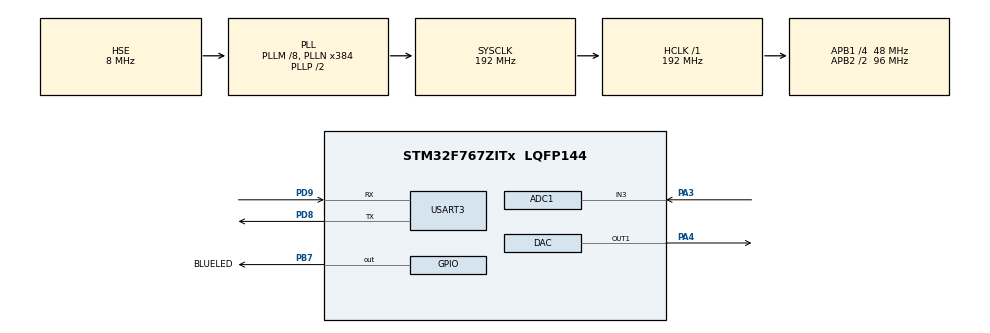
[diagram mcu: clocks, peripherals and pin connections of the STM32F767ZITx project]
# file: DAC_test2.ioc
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ADC1.Channel-0\#ChannelRegularConversion=ADC_CHANNEL_3
ADC1.DMAContinuousRequests=ENABLE
ADC1.ExternalTrigConv=ADC_EXTERNALTRIGCONV_T6_TRGO
ADC1.NbrOfConversionFlag=1
ADC1.Rank-0\#ChannelRegularConversion=1
ADC1.SamplingTime-0\#ChannelRegularConversion=ADC_SAMPLETIME_3CYCLES
ADC1.master=1
CORTEX_M7.default_mode_Activation=1
DAC.DAC_Trigger=DAC_TRIGGER_T6_TRGO
Dma.ADC1.0.Direction=DMA_PERIPH_TO_MEMORY
Dma.ADC1.0.FIFOMode=DMA_FIFOMODE_DISABLE
Dma.ADC1.0.Instance=DMA2_Stream0
Dma.ADC1.0.MemDataAlignment=DMA_MDATAALIGN_HALFWORD
Dma.ADC1.0.MemInc=DMA_MINC_ENABLE
Dma.ADC1.0.Mode=DMA_CIRCULAR
Dma.ADC1.0.PeriphDataAlignment=DMA_PDATAALIGN_HALFWORD
Dma.ADC1.0.PeriphInc=DMA_PINC_DISABLE
Dma.ADC1.0.Priority=DMA_PRIORITY_LOW
Dma.DAC1.1.Direction=DMA_MEMORY_TO_PERIPH
Dma.DAC1.1.FIFOMode=DMA_FIFOMODE_DISABLE
Dma.DAC1.1.Instance=DMA1_Stream5
Dma.DAC1.1.MemDataAlignment=DMA_MDATAALIGN_HALFWORD
Dma.DAC1.1.MemInc=DMA_MINC_ENABLE
Dma.DAC1.1.Mode=DMA_CIRCULAR
Dma.DAC1.1.PeriphDataAlignment=DMA_PDATAALIGN_HALFWORD
Dma.DAC1.1.PeriphInc=DMA_PINC_DISABLE
Dma.DAC1.1.Priority=DMA_PRIORITY_LOW
Dma.Request0=ADC1
Dma.Request1=DAC1
Mcu.Family=STM32F7
Mcu.Name=STM32F767ZITx
Mcu.Package=LQFP144
NVIC.DMA1_Stream5_IRQn=true\:0\:0\:false\:false\:true\:false\:true\:true
NVIC.DMA2_Stream0_IRQn=true\:0\:0\:false\:false\:true\:false\:true\:true
NVIC.PriorityGroup=NVIC_PRIORITYGROUP_4
PA3.Signal=ADCx_IN3
PA4.Signal=COMP_DAC1_group
PB7.GPIO_Label=BLUELED
PB7.Signal=GPIO_Output
PD8.Mode=Asynchronous
PD8.Signal=USART3_TX
PD9.Mode=Asynchronous
PD9.Signal=USART3_RX
PH0/OSC_IN.Mode=HSE-External-Clock-Source
PH0/OSC_IN.Signal=RCC_OSC_IN
PH1/OSC_OUT.Mode=HSE-External-Clock-Source
PH1/OSC_OUT.Signal=RCC_OSC_OUT
ProjectManager.HeapSize=0x200
ProjectManager.StackSize=0x400
ProjectManager.TargetToolchain=STM32CubeIDE
RCC.AHBFreq_Value=192000000
RCC.APB1CLKDivider=RCC_HCLK_DIV4
RCC.APB1Freq_Value=48000000
RCC.APB1TimFreq_Value=96000000
RCC.APB2CLKDivider=RCC_HCLK_DIV2
RCC.APB2Freq_Value=96000000
RCC.APB2TimFreq_Value=192000000
RCC.CortexFreq_Value=192000000
RCC.HCLKFreq_Value=192000000
RCC.HSE_VALUE=8000000
RCC.HSI_VALUE=16000000
RCC.LSE_VALUE=32768
RCC.PLLM=8
RCC.PLLN=384
RCC.PLLSourceVirtual=RCC_PLLSOURCE_HSE
RCC.SYSCLKFreq_VALUE=192000000
RCC.SYSCLKSource=RCC_SYSCLKSOURCE_PLLCLK
RCC.USBFreq_Value=192000000
RCC.VCOOutputFreq_Value=384000000
SH.ADCx_IN3.0=ADC1_IN3,IN3
SH.COMP_DAC1_group.0=DAC_OUT1,DAC_OUT1
TIM6.Period=12-1
TIM6.Prescaler=8-1
TIM6.TIM_MasterOutputTrigger=TIM_TRGO_UPDATE
USART3.VirtualMode-Asynchronous=VM_ASYNC
VP_TIM6_VS_ClockSourceINT.Mode=Enable_Timer
board=custom

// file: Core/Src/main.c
/* USER CODE BEGIN Header */
/**
  ******************************************************************************
  * @file           : main.c
  * @brief          : Main program body
  ******************************************************************************
  * @attention
  *
  * Copyright (c) 2025 STMicroelectronics.
  * All rights reserved.
  *
  * This software is licensed under terms that can be found in the LICENSE file
  * in the root directory of this software component.
  * If no LICENSE file comes with this software, it is provided AS-IS.
  *
  ******************************************************************************
  */
/* USER CODE END Header */
#include "main.h"

/* USER CODE BEGIN Includes */
//#include "math.h"
#include "arm_math.h"
/* USER CODE END Includes */

/* USER CODE BEGIN PD */
#define NUM_SAMPLES 1024
#define DAC_LUT_SIZE 20      // For 5 kHz output: 1MHz / 200 = 5000 Hz
#define ADC_BUFFER_SIZE NUM_SAMPLES  // Use consistent size
#define HALF_SAMPLES (NUM_SAMPLES / 2)
#define PI 3.14159265358979323846f
/* USER CODE END PD */

ADC_HandleTypeDef hadc1;
DMA_HandleTypeDef hdma_adc1;

DAC_HandleTypeDef hdac;
DMA_HandleTypeDef hdma_dac1;

TIM_HandleTypeDef htim6;

UART_HandleTypeDef huart3;

/* USER CODE BEGIN PV */
uint16_t adc_buffer[NUM_SAMPLES];
uint16_t sine_LUT[NUM_SAMPLES];
uint32_t N = NUM_SAMPLES;
uint32_t M = 32;
uint32_t freq_out ;
uint32_t fsampling ;
uint32_t phase_inc=0;
uint32_t phase_acc=0;
volatile uint8_t data_ready_flag = 0;
volatile uint8_t buffer_half = 0; // 0 = first half, 1 = second half

uint32_t dac_res = 12;
uint32_t lut_idx;
uint32_t k;
/* USER CODE END PV */

void SystemClock_Config(void);
static void MPU_Config(void);
static void MX_GPIO_Init(void);
static void MX_DMA_Init(void);
static void MX_DAC_Init(void);
static void MX_TIM6_Init(void);
static void MX_ADC1_Init(void);
static void MX_USART3_UART_Init(void);

int main(void)
{

  /* USER CODE BEGIN 1 */
	for (int i = 0; i < DAC_LUT_SIZE; i++){
	float32_t theta = 2*PI * (float32_t)(i)/(float32_t)(DAC_LUT_SIZE);

	/// Converting sine value (-1 to +1) to DAC range from 0 to 4095 for 12-bit)
	sine_LUT[i] = ((arm_cos_f32(theta)*0.95)+1) * (1 << dac_res) /2; //adding headroom by scaling down from 100% to 95% to remove clipping
		}
		freq_out = fsampling/DAC_LUT_SIZE;
		fsampling = 1000000;

		//This represents the fraction of a complete sine cycle per sample
		//phase_inc = ((float64_t)freq_out/ fsampling) * pow(2.0, M);
		//phase_inc = ((uint64_t)freq_out << M) / fsampling;
		//phase_acc = 0;
		//k = log2(NUM_SAMPLES);
  /* USER CODE END 1 */

  /* MPU Configuration--------------------------------------------------------*/
  MPU_Config();

  /* MCU Configuration--------------------------------------------------------*/

  /* Reset of all peripherals, Initializes the Flash interface and the Systick. */
  HAL_Init();

  /* Configure the system clock */
  SystemClock_Config();

  /* Initialize all configured peripherals */
  MX_GPIO_Init();
  MX_DMA_Init();
  MX_DAC_Init();
  MX_TIM6_Init();
  MX_ADC1_Init();
  MX_USART3_UART_Init();
  /* USER CODE BEGIN 2 */
  //HAL_DAC_Start(&hdac, DAC_CHANNEL_1);
  //HAL_TIM_Base_Start_IT(&htim7);
  //uint16_t dac_val = 0;
  HAL_Delay(1000);
  HAL_ADC_Start_DMA(&hadc1, (uint32_t* )adc_buffer, NUM_SAMPLES);
  HAL_DAC_Start_DMA(&hdac, DAC_CHANNEL_1, (uint32_t*)sine_LUT, DAC_LUT_SIZE, DAC_ALIGN_12B_R);
  HAL_TIM_Base_Start(&htim6);

  /* USER CODE END 2 */

  /* Infinite loop */
  while (1)
  {
	  if (data_ready_flag)
	      {
	        data_ready_flag = 0;

	        // Determine which half of the buffer to send
	        uint16_t *buffer_ptr;
	        uint16_t samples_to_send;

	        if (buffer_half == 0)
	        {
	          buffer_ptr = adc_buffer; // First half
	          samples_to_send = HALF_SAMPLES;
	        }
	        else
	        {
	          buffer_ptr = &adc_buffer[HALF_SAMPLES]; // Second half
	          samples_to_send = HALF_SAMPLES;
	        }

	        // Transmit the ready half over UART
	        HAL_UART_Transmit(&huart3, (uint8_t*)buffer_ptr, samples_to_send * sizeof(uint16_t), HAL_MAX_DELAY);
	      }

  }
}

void SystemClock_Config(void)
{
  RCC_OscInitTypeDef RCC_OscInitStruct = {0};
  RCC_ClkInitTypeDef RCC_ClkInitStruct = {0};

  /** Configure the main internal regulator output voltage
  */
  __HAL_RCC_PWR_CLK_ENABLE();
  __HAL_PWR_VOLTAGESCALING_CONFIG(PWR_REGULATOR_VOLTAGE_SCALE1);

  /** Initializes the RCC Oscillators according to the specified parameters
  * in the RCC_OscInitTypeDef structure.
  */
  RCC_OscInitStruct.OscillatorType = RCC_OSCILLATORTYPE_HSE;
  RCC_OscInitStruct.HSEState = RCC_HSE_BYPASS;
  RCC_OscInitStruct.PLL.PLLState = RCC_PLL_ON;
  RCC_OscInitStruct.PLL.PLLSource = RCC_PLLSOURCE_HSE;
  RCC_OscInitStruct.PLL.PLLM = 8;
  RCC_OscInitStruct.PLL.PLLN = 384;
  RCC_OscInitStruct.PLL.PLLP = RCC_PLLP_DIV2;
  RCC_OscInitStruct.PLL.PLLQ = 2;
  RCC_OscInitStruct.PLL.PLLR = 2;
  if (HAL_RCC_OscConfig(&RCC_OscInitStruct) != HAL_OK)
  {
    Error_Handler();
  }

  /** Activate the Over-Drive mode
  */
  if (HAL_PWREx_EnableOverDrive() != HAL_OK)
  {
    Error_Handler();
  }

  /** Initializes the CPU, AHB and APB buses clocks
  */
  RCC_ClkInitStruct.ClockType = RCC_CLOCKTYPE_HCLK|RCC_CLOCKTYPE_SYSCLK
                              |RCC_CLOCKTYPE_PCLK1|RCC_CLOCKTYPE_PCLK2;
  RCC_ClkInitStruct.SYSCLKSource = RCC_SYSCLKSOURCE_PLLCLK;
  RCC_ClkInitStruct.AHBCLKDivider = RCC_SYSCLK_DIV1;
  RCC_ClkInitStruct.APB1CLKDivider = RCC_HCLK_DIV4;
  RCC_ClkInitStruct.APB2CLKDivider = RCC_HCLK_DIV2;

  if (HAL_RCC_ClockConfig(&RCC_ClkInitStruct, FLASH_LATENCY_6) != HAL_OK)
  {
    Error_Handler();
  }
}

static void MX_ADC1_Init(void)
{

  ADC_ChannelConfTypeDef sConfig = {0};

  /** Configure the global features of the ADC (Clock, Resolution, Data Alignment and number of conversion)
  */
  hadc1.Instance = ADC1;
  hadc1.Init.ClockPrescaler = ADC_CLOCK_SYNC_PCLK_DIV4;
  hadc1.Init.Resolution = ADC_RESOLUTION_12B;
  hadc1.Init.ScanConvMode = ADC_SCAN_DISABLE;
  hadc1.Init.ContinuousConvMode = DISABLE;
  hadc1.Init.DiscontinuousConvMode = DISABLE;
  hadc1.Init.ExternalTrigConvEdge = ADC_EXTERNALTRIGCONVEDGE_RISING;
  hadc1.Init.ExternalTrigConv = ADC_EXTERNALTRIGCONV_T6_TRGO;
  hadc1.Init.DataAlign = ADC_DATAALIGN_RIGHT;
  hadc1.Init.NbrOfConversion = 1;
  hadc1.Init.DMAContinuousRequests = ENABLE;
  hadc1.Init.EOCSelection = ADC_EOC_SINGLE_CONV;
  if (HAL_ADC_Init(&hadc1) != HAL_OK)
  {
    Error_Handler();
  }

  /** Configure for the selected ADC regular channel its corresponding rank in the sequencer and its sample time.
  */
  sConfig.Channel = ADC_CHANNEL_3;
  sConfig.Rank = ADC_REGULAR_RANK_1;
  sConfig.SamplingTime = ADC_SAMPLETIME_15CYCLES;
  if (HAL_ADC_ConfigChannel(&hadc1, &sConfig) != HAL_OK)
  {
    Error_Handler();
  }

}

static void MX_DAC_Init(void)
{

  DAC_ChannelConfTypeDef sConfig = {0};

  /** DAC Initialization
  */
  hdac.Instance = DAC;
  if (HAL_DAC_Init(&hdac) != HAL_OK)
  {
    Error_Handler();
  }

  /** DAC channel OUT1 config
  */
  sConfig.DAC_Trigger = DAC_TRIGGER_T6_TRGO;
  sConfig.DAC_OutputBuffer = DAC_OUTPUTBUFFER_ENABLE;
  if (HAL_DAC_ConfigChannel(&hdac, &sConfig, DAC_CHANNEL_1) != HAL_OK)
  {
    Error_Handler();
  }

}

static void MX_TIM6_Init(void)
{

  TIM_MasterConfigTypeDef sMasterConfig = {0};

  htim6.Instance = TIM6;
  htim6.Init.Prescaler = 8-1;
  htim6.Init.CounterMode = TIM_COUNTERMODE_UP;
  htim6.Init.Period = 12-1;
  htim6.Init.AutoReloadPreload = TIM_AUTORELOAD_PRELOAD_DISABLE;
  if (HAL_TIM_Base_Init(&htim6) != HAL_OK)
  {
    Error_Handler();
  }
  sMasterConfig.MasterOutputTrigger = TIM_TRGO_UPDATE;
  sMasterConfig.MasterSlaveMode = TIM_MASTERSLAVEMODE_DISABLE;
  if (HAL_TIMEx_MasterConfigSynchronization(&htim6, &sMasterConfig) != HAL_OK)
  {
    Error_Handler();
  }

}

static void MX_USART3_UART_Init(void)
{

  huart3.Instance = USART3;
  huart3.Init.BaudRate = 115200;
  huart3.Init.WordLength = UART_WORDLENGTH_8B;
  huart3.Init.StopBits = UART_STOPBITS_1;
  huart3.Init.Parity = UART_PARITY_NONE;
  huart3.Init.Mode = UART_MODE_TX_RX;
  huart3.Init.HwFlowCtl = UART_HWCONTROL_NONE;
  huart3.Init.OverSampling = UART_OVERSAMPLING_16;
  huart3.Init.OneBitSampling = UART_ONE_BIT_SAMPLE_DISABLE;
  huart3.AdvancedInit.AdvFeatureInit = UART_ADVFEATURE_NO_INIT;
  if (HAL_UART_Init(&huart3) != HAL_OK)
  {
    Error_Handler();
  }

}

static void MX_DMA_Init(void)
{

  /* DMA controller clock enable */
  __HAL_RCC_DMA2_CLK_ENABLE();
  __HAL_RCC_DMA1_CLK_ENABLE();

  /* DMA interrupt init */
  /* DMA1_Stream5_IRQn interrupt configuration */
  HAL_NVIC_SetPriority(DMA1_Stream5_IRQn, 0, 0);
  HAL_NVIC_EnableIRQ(DMA1_Stream5_IRQn);
  /* DMA2_Stream0_IRQn interrupt configuration */
  HAL_NVIC_SetPriority(DMA2_Stream0_IRQn, 0, 0);
  HAL_NVIC_EnableIRQ(DMA2_Stream0_IRQn);

}

static void MX_GPIO_Init(void)
{
  GPIO_InitTypeDef GPIO_InitStruct = {0};

  /* GPIO Ports Clock Enable */
  __HAL_RCC_GPIOH_CLK_ENABLE();
  __HAL_RCC_GPIOA_CLK_ENABLE();
  __HAL_RCC_GPIOD_CLK_ENABLE();
  __HAL_RCC_GPIOB_CLK_ENABLE();

  /*Configure GPIO pin Output Level */
  HAL_GPIO_WritePin(BLUELED_GPIO_Port, BLUELED_Pin, GPIO_PIN_RESET);

  /*Configure GPIO pin : BLUELED_Pin */
  GPIO_InitStruct.Pin = BLUELED_Pin;
  GPIO_InitStruct.Mode = GPIO_MODE_OUTPUT_PP;
  GPIO_InitStruct.Pull = GPIO_NOPULL;
  GPIO_InitStruct.Speed = GPIO_SPEED_FREQ_LOW;
  HAL_GPIO_Init(BLUELED_GPIO_Port, &GPIO_InitStruct);

}

/* USER CODE BEGIN 4 */
void HAL_ADC_ConvCpltCallback(ADC_HandleTypeDef* hadc)
{
    if (hadc->Instance == ADC1)
    {
        // Send raw 16-bit ADC buffer over UART
    	HAL_GPIO_TogglePin(GPIOB, GPIO_PIN_7);
    	HAL_Delay(500);
    	buffer_half = 0;
    	data_ready_flag = 1;

    }
}

/* USER CODE END 4 */

 /* MPU Configuration */

void MPU_Config(void)
{
  MPU_Region_InitTypeDef MPU_InitStruct = {0};

  /* Disables the MPU */
  HAL_MPU_Disable();

  /** Initializes and configures the Region and the memory to be protected
  */
  MPU_InitStruct.Enable = MPU_REGION_ENABLE;
  MPU_InitStruct.Number = MPU_REGION_NUMBER0;
  MPU_InitStruct.BaseAddress = 0x0;
  MPU_InitStruct.Size = MPU_REGION_SIZE_4GB;
  MPU_InitStruct.SubRegionDisable = 0x87;
  MPU_InitStruct.TypeExtField = MPU_TEX_LEVEL0;
  MPU_InitStruct.AccessPermission = MPU_REGION_NO_ACCESS;
  MPU_InitStruct.DisableExec = MPU_INSTRUCTION_ACCESS_DISABLE;
  MPU_InitStruct.IsShareable = MPU_ACCESS_SHAREABLE;
  MPU_InitStruct.IsCacheable = MPU_ACCESS_NOT_CACHEABLE;
  MPU_InitStruct.IsBufferable = MPU_ACCESS_NOT_BUFFERABLE;

  HAL_MPU_ConfigRegion(&MPU_InitStruct);
  /* Enables the MPU */
  HAL_MPU_Enable(MPU_PRIVILEGED_DEFAULT);

}

void Error_Handler(void)
{
  __disable_irq();
  while (1)
  {
  }
}
